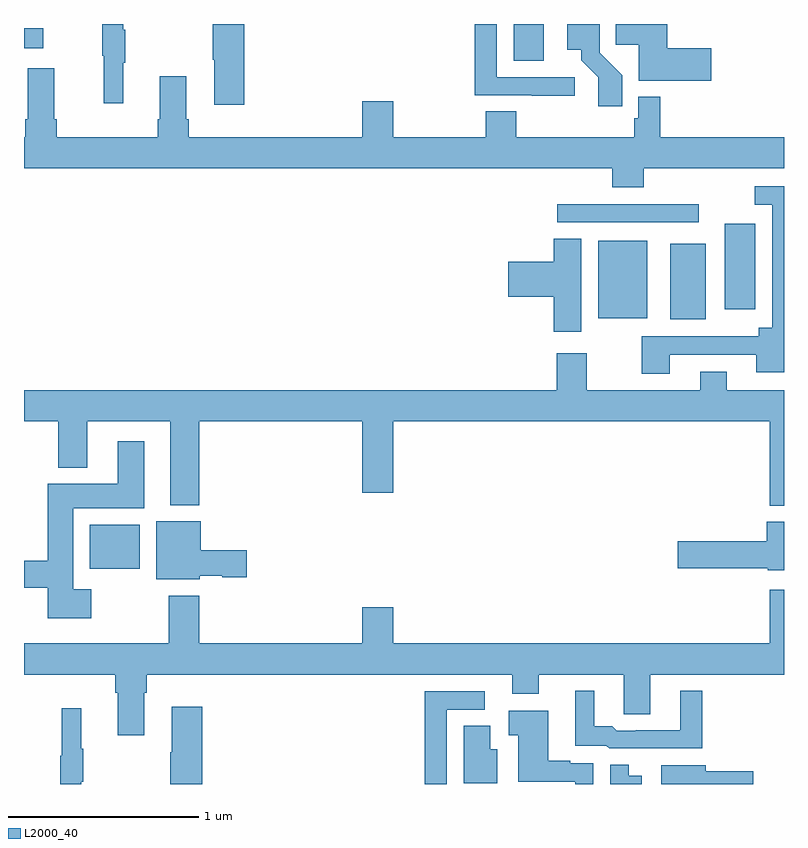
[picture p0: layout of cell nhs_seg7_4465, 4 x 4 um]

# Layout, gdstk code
import gdstk
lib = gdstk.Library(unit=1e-6, precision=1e-09)
def R(c, l, rs):  # rectangles x0, y0, x1, y1
    for r in rs: c.add(gdstk.rectangle(r[:2], r[2:], *l))
def P(c, l, *ps):  # polygons
    for p in ps: c.add(gdstk.Polygon(p, *l))
L2000_40 = (2000, 40)

nhs_seg7_4465 = lib.new_cell('nhs_seg7_4465')
R(nhs_seg7_4465, L2000_40, [(391.346,1041.134,391.609,1041.364), (394.4,1042.445,394.588,1042.843), (394.022,1042.451,394.279,1042.858), (394.688,1042.5,394.849,1042.948), (393.807,1042.956,394.552,1043.052), (393.578,1043.806,393.736,1044), (391,1043.873,391.102,1043.977)])
P(nhs_seg7_4465, L2000_40, [(391.523,1043.795),(391.534,1043.795),(391.534,1043.969),(391.523,1043.969),(391.523,1044),(391.413,1044),(391.413,1043.832),(391.42,1043.832),(391.42,1043.583),(391.523,1043.583)],
  [(394.618,1043.873),(394.385,1043.873),(394.385,1044),(394.114,1044),(394.114,1043.89),(394.235,1043.89),(394.235,1043.702),(394.618,1043.702)],
  [(394.148,1043.73),(394.029,1043.849),(394.029,1044),(393.86,1044),(393.86,1043.864),(393.932,1043.864),(393.932,1043.809),(394.023,1043.719),(394.023,1043.568),(394.148,1043.568)],
  [(392.159,1044),(391.993,1044),(391.993,1043.812),(392,1043.812),(392,1043.574),(392.159,1043.574)],
  [(393.898,1043.721),(393.489,1043.721),(393.489,1044),(393.373,1044),(393.373,1043.625),(393.673,1043.625),(393.673,1043.623),(393.898,1043.623)],
  [(394.262,1043.24),(395,1043.24),(395,1043.404),(394.349,1043.404),(394.349,1043.617),(394.233,1043.617),(394.233,1043.505),(394.213,1043.505),(394.213,1043.404),(393.59,1043.404),(393.59,1043.54),(393.43,1043.54),(393.43,1043.404),(392.944,1043.404),(392.944,1043.593),(392.78,1043.593),(392.78,1043.404),(391.868,1043.404),(391.868,1043.5),(391.855,1043.5),(391.855,1043.725),(391.715,1043.725),(391.715,1043.5),(391.703,1043.5),(391.703,1043.404),(391.172,1043.404),(391.172,1043.5),(391.159,1043.5),(391.159,1043.767),(391.019,1043.767),(391.019,1043.5),(391.007,1043.5),(391.007,1043.404),(391,1043.404),(391,1043.24),(394.097,1043.24),(394.097,1043.141),(394.262,1043.141)],
  [(394.399,1042.26),(394.853,1042.26),(394.853,1042.166),(395,1042.166),(395,1043.145),(394.845,1043.145),(394.845,1043.049),(394.938,1043.049),(394.938,1042.402),(394.868,1042.402),(394.868,1042.356),(394.252,1042.356),(394.252,1042.158),(394.399,1042.158)],
  [(393.934,1042.871),(393.788,1042.871),(393.788,1042.748),(393.549,1042.748),(393.549,1042.565),(393.788,1042.565),(393.788,1042.38),(393.934,1042.38)],
  [(395,1042.072),(394.699,1042.072),(394.699,1042.171),(394.559,1042.171),(394.559,1042.072),(393.963,1042.072),(393.963,1042.267),(393.803,1042.267),(393.803,1042.072),(391,1042.072),(391,1041.908),(391.181,1041.908),(391.181,1041.665),(391.333,1041.665),(391.333,1041.908),(391.769,1041.908),(391.769,1041.467),(391.922,1041.467),(391.922,1041.908),(392.78,1041.908),(392.78,1041.534),(392.944,1041.534),(392.944,1041.908),(394.926,1041.908),(394.926,1041.464),(395,1041.464)],
  [(391.354,1041.025),(391.258,1041.025),(391.258,1041.452),(391.633,1041.452),(391.633,1041.805),(391.493,1041.805),(391.493,1041.58),(391.124,1041.58),(391.124,1041.176),(391,1041.176),(391,1041.034),(391.124,1041.034),(391.124,1040.873),(391.354,1040.873)],
  [(391.926,1041.095),(392.043,1041.095),(392.043,1041.088),(392.173,1041.088),(392.173,1041.23),(391.93,1041.23),(391.93,1041.382),(391.697,1041.382),(391.697,1041.077),(391.926,1041.077)],
  [(395,1041.379),(394.91,1041.379),(394.91,1041.278),(394.44,1041.278),(394.44,1041.136),(394.914,1041.136),(394.914,1041.125),(395,1041.125)],
  [(391.633,1040.48),(391.646,1040.48),(391.646,1040.576),(393.569,1040.576),(393.569,1040.474),(393.709,1040.474),(393.709,1040.576),(394.157,1040.576),(394.157,1040.368),(394.297,1040.368),(394.297,1040.576),(395,1040.576),(395,1041.022),(394.926,1041.022),(394.926,1040.74),(392.944,1040.74),(392.944,1040.929),(392.78,1040.929),(392.78,1040.74),(391.922,1040.74),(391.922,1040.992),(391.762,1040.992),(391.762,1040.74),(391,1040.74),(391,1040.576),(391.481,1040.576),(391.481,1040.48),(391.493,1040.48),(391.493,1040.256),(391.633,1040.256)],
  [(394.571,1040.491),(394.454,1040.491),(394.454,1040.283),(394.219,1040.283),(394.219,1040.28),(394.119,1040.28),(394.097,1040.303),(394,1040.303),(394,1040.491),(393.902,1040.491),(393.902,1040.202),(394.065,1040.202),(394.08,1040.187),(394.571,1040.187)],
  [(393.225,1040.391),(393.424,1040.391),(393.424,1040.487),(393.109,1040.487),(393.109,1040),(393.225,1040)],
  [(391.937,1040.407),(391.778,1040.407),(391.778,1040.168),(391.771,1040.168),(391.771,1040),(391.937,1040)],
  [(391.301,1040.011),(391.312,1040.011),(391.312,1040.185),(391.301,1040.185),(391.301,1040.398),(391.198,1040.398),(391.198,1040.148),(391.191,1040.148),(391.191,1040),(391.301,1040)],
  [(393.996,1040.109),(393.875,1040.109),(393.875,1040.122),(393.76,1040.122),(393.76,1040.386),(393.552,1040.386),(393.552,1040.257),(393.602,1040.257),(393.602,1040.013),(393.9,1040.013),(393.9,1040),(393.996,1040)],
  [(393.49,1040.182),(393.454,1040.182),(393.454,1040.306),(393.314,1040.306),(393.314,1040.003),(393.49,1040.003)],
  [(394.252,1040.044),(394.183,1040.044),(394.183,1040.102),(394.086,1040.102),(394.086,1040),(394.252,1040)],
  [(394.837,1040.066),(394.588,1040.066),(394.588,1040.098),(394.353,1040.098),(394.353,1040),(394.837,1040)])

lib.write_gds('nhs_seg7_4465.gds')
